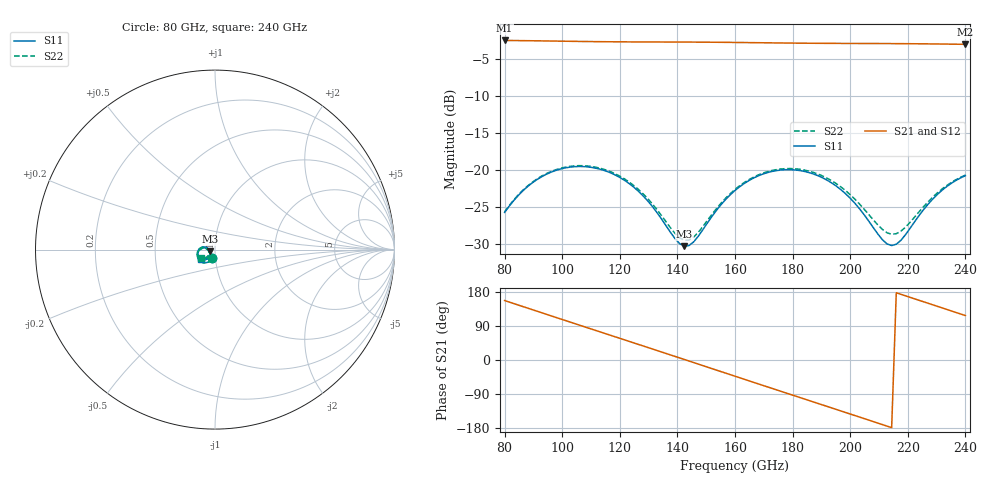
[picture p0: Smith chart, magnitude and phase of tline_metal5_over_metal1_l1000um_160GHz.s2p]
#  GHZ S DB R 50
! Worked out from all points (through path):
!   101 points, 80 GHz to 240 GHz, reference 50 ohm
!   highest |S21| = -2.56 dB at 80 GHz (marker M1); lowest = -3.1 dB at 240 GHz (marker M2)
!   group delay of S21, straight-line fit = 6.94 ps
!   lowest |S11| = -30.3 dB at 142.4 GHz (marker M3), VSWR 1.06, Z = 47.2 - j0.929 ohm
!   |S11| at or under -10 dB: start of sweep to end of sweep
!   |S22| runs from -29.5 to -19.4 dB; largest |S21 - S12| = 8.4e-14
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80  -25.75 -112.0  -2.56 156.9  -2.56 156.9  -25.67 -111.6
86.4  -22.81 -115.7  -2.59 140.9  -2.59 140.9  -22.73 -115.1
94.4  -20.62 -128.4  -2.63 120.9  -2.63 120.9  -20.53 -127.6
100.8  -19.76 -140.6  -2.66 104.9  -2.66 104.9  -19.66 -139.7
107.2  -19.56 -153.3  -2.70 89.0  -2.70 89.0  -19.45 -152.2
120  -21.03 -177.2  -2.75 57.2  -2.75 57.2  -20.85 -175.5
128  -23.47 172.1  -2.76 37.3  -2.76 37.3  -23.21 174.3
134.4  -26.58 171.3  -2.77 21.4  -2.77 21.4  -26.13 173.7
142.4  -30.30 -161.2  -2.78 1.4  -2.78 1.4  -29.50 -161.3
145.6  -29.73 -143.8  -2.78 -6.7  -2.78 -6.7  -29.09 -145.6
150.4  -27.18 -129.4  -2.79 -18.7  -2.79 -18.7  -26.84 -131.5
160  -22.79 -131.2  -2.83 -42.8  -2.83 -42.8  -22.65 -132.0
168  -20.83 -142.8  -2.86 -62.8  -2.86 -62.8  -20.71 -142.8
174.4  -20.10 -153.9  -2.89 -78.8  -2.89 -78.8  -19.97 -153.5
187.2  -20.56 -176.7  -2.94 -110.6  -2.94 -110.6  -20.35 -175.2
195.2  -22.20 171.2  -2.96 -130.5  -2.96 -130.5  -21.87 173.5
201.6  -24.50 165.5  -2.96 -146.5  -2.96 -146.5  -23.95 168.6
211.2  -29.43 179.7  -2.98 -170.5  -2.98 -170.5  -28.05 -178.9
214.4  -30.21 -163.9  -2.98 -178.5  -2.98 -178.5  -28.69 -166.2
219.2  -28.75 -141.2  -2.99 169.4  -2.99 169.4  -27.74 -147.5
227.2  -24.56 -132.1  -3.02 149.3  -3.02 149.3  -24.25 -137.6
240  -20.79 -146.7  -3.08 117.3  -3.08 117.3  -20.72 -150.0
